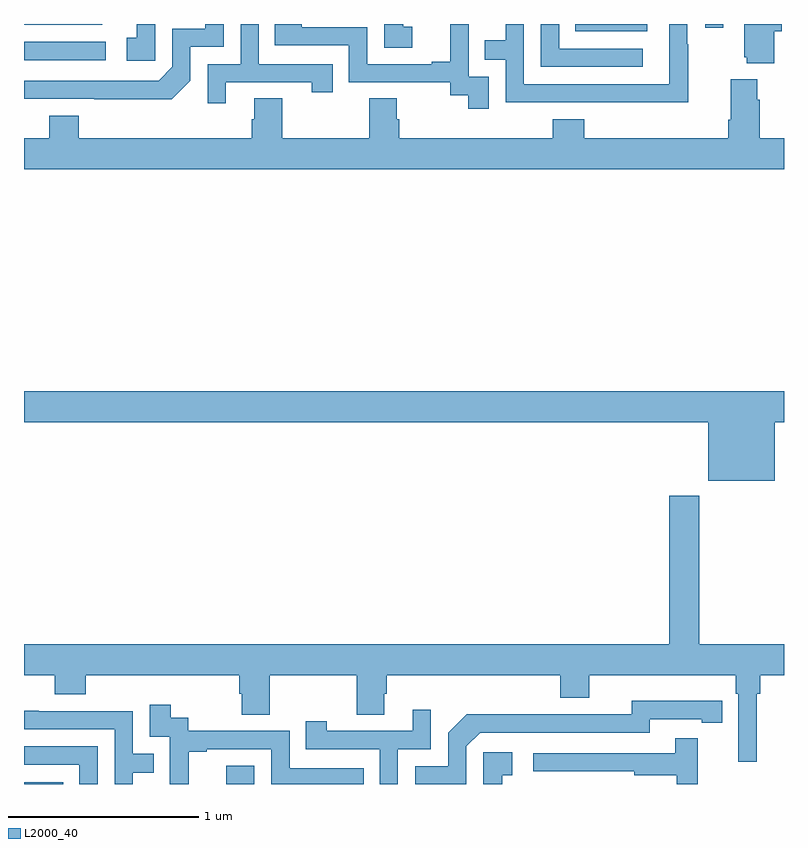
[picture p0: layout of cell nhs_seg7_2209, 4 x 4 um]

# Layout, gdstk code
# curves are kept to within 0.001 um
import gdstk
lib = gdstk.Library(unit=1e-6, precision=1e-09)
def R(c, l, rs):  # rectangles x0, y0, x1, y1
    for r in rs: c.add(gdstk.rectangle(r[:2], r[2:], *l))
def P(c, l, *ps):  # polygons
    for p in ps: c.add(gdstk.Polygon(p, *l))
L2000_40 = (2000, 40)

nhs_seg7_2209 = lib.new_cell('nhs_seg7_2209')
R(nhs_seg7_2209, L2000_40, [(255,1044,255.206,1044.01), (256.065,1044,256.212,1044.097), (255,1047.81,255.43,1047.906), (257.902,1047.962,258.28,1048), (258.585,1047.981,258.681,1048), (255,1047.995,255.412,1048)])
P(nhs_seg7_2209, L2000_40, [(257.445,1047.723),(257.34,1047.723),(257.34,1047.953),(257.342,1047.953),(257.342,1048),(257.243,1048),(257.243,1047.802),(257.147,1047.802),(257.147,1047.789),(256.806,1047.789),(256.806,1047.984),(256.461,1047.984),(256.461,1048),(256.321,1048),(256.321,1047.888),(256.71,1047.888),(256.71,1047.693),(257.244,1047.693),(257.244,1047.625),(257.337,1047.625),(257.337,1047.555),(257.445,1047.555)],
  [(255.69,1048),(255.593,1048),(255.593,1047.927),(255.54,1047.927),(255.54,1047.807),(255.69,1047.807)],
  [(258.495,1047.893),(258.492,1047.893),(258.492,1048),(258.396,1048),(258.396,1047.684),(257.631,1047.684),(257.631,1048),(257.535,1048),(257.535,1047.914),(257.425,1047.914),(257.425,1047.813),(257.535,1047.813),(257.535,1047.588),(258.031,1047.588),(258.031,1047.587),(258.495,1047.587)],
  [(257.044,1047.985),(256.995,1047.985),(256.995,1048),(256.896,1048),(256.896,1047.876),(257.044,1047.876)],
  [(256.063,1047.693),(256.514,1047.693),(256.514,1047.642),(256.625,1047.642),(256.625,1047.789),(256.236,1047.789),(256.236,1048),(256.14,1048),(256.14,1047.789),(255.966,1047.789),(255.966,1047.582),(256.063,1047.582)],
  [(258.949,1047.962),(258.988,1047.962),(258.988,1048),(258.791,1048),(258.791,1047.825),(258.803,1047.825),(258.803,1047.794),(258.949,1047.794)],
  [(258.256,1047.87),(257.817,1047.87),(257.817,1048),(257.721,1048),(257.721,1047.774),(258.256,1047.774)],
  [(255.876,1047.702),(255.876,1047.879),(256.05,1047.879),(256.05,1048),(255.953,1048),(255.953,1047.975),(255.78,1047.975),(255.78,1047.774),(255.708,1047.702),(255,1047.702),(255,1047.606),(255.778,1047.605)],
  [(259,1047.4),(258.872,1047.4),(258.872,1047.602),(258.859,1047.602),(258.859,1047.709),(258.719,1047.709),(258.719,1047.496),(258.707,1047.496),(258.707,1047.4),(257.948,1047.4),(257.948,1047.499),(257.783,1047.499),(257.783,1047.4),(256.976,1047.4),(256.976,1047.498),(256.963,1047.498),(256.963,1047.608),(256.816,1047.608),(256.816,1047.4),(256.359,1047.4),(256.359,1047.608),(256.211,1047.608),(256.211,1047.498),(256.199,1047.498),(256.199,1047.4),(255.287,1047.4),(255.287,1047.517),(255.134,1047.517),(255.134,1047.4),(255,1047.4),(255,1047.236),(259,1047.236)],
  [(258.952,1045.904),(259,1045.904),(259,1046.068),(255,1046.068),(255,1045.904),(258.602,1045.904),(258.602,1045.595),(258.952,1045.595)],
  [(258.856,1044.476),(258.875,1044.476),(258.875,1044.572),(259,1044.572),(259,1044.736),(258.555,1044.736),(258.555,1045.516),(258.395,1045.516),(258.395,1044.736),(255,1044.736),(255,1044.572),(255.161,1044.572),(255.161,1044.473),(255.326,1044.473),(255.326,1044.572),(256.133,1044.572),(256.133,1044.474),(256.145,1044.474),(256.145,1044.364),(256.293,1044.364),(256.293,1044.572),(256.75,1044.572),(256.75,1044.364),(256.897,1044.364),(256.897,1044.474),(256.91,1044.474),(256.91,1044.572),(257.822,1044.572),(257.822,1044.455),(257.974,1044.455),(257.974,1044.572),(258.746,1044.572),(258.746,1044.476),(258.759,1044.476),(258.759,1044.117),(258.856,1044.117)],
  [(257.328,1044.198),(257.4,1044.27),(258.294,1044.27),(258.294,1044.342),(258.566,1044.342),(258.566,1044.322),(258.674,1044.322),(258.674,1044.438),(258.198,1044.439),(258.198,1044.366),(257.738,1044.366),(257.738,1044.368),(257.33,1044.368),(257.232,1044.27),(257.232,1044.093),(257.058,1044.093),(257.058,1044),(257.328,1044)],
  [(255.866,1044.171),(255.961,1044.171),(255.961,1044.183),(256.302,1044.183),(256.302,1044),(256.787,1044),(256.787,1044.084),(256.398,1044.084),(256.398,1044.279),(255.864,1044.279),(255.864,1044.348),(255.772,1044.348),(255.772,1044.418),(255.663,1044.418),(255.663,1044.249),(255.768,1044.249),(255.768,1044.02),(255.767,1044.02),(255.767,1044),(255.866,1044)],
  [(256.968,1044.183),(257.142,1044.183),(257.142,1044.391),(257.045,1044.391),(257.045,1044.279),(256.594,1044.279),(256.594,1044.331),(256.483,1044.331),(256.483,1044.183),(256.872,1044.183),(256.872,1044),(256.968,1044)],
  [(255.573,1044.058),(255.683,1044.058),(255.683,1044.159),(255.573,1044.159),(255.573,1044.384),(255.077,1044.384),(255.077,1044.386),(255,1044.386),(255,1044.288),(255.477,1044.288),(255.477,1044),(255.573,1044)],
  [(258.545,1044.241),(258.427,1044.241),(258.427,1044.162),(257.679,1044.162),(257.679,1044.066),(258.211,1044.066),(258.211,1044.046),(258.435,1044.046),(258.435,1044),(258.545,1044)],
  [(255.387,1044.198),(255,1044.198),(255,1044.102),(255.291,1044.102),(255.291,1044),(255.387,1044)],
  [(257.516,1044.045),(257.569,1044.045),(257.569,1044.166),(257.418,1044.166),(257.418,1044),(257.516,1044)])

lib.write_gds('nhs_seg7_2209.gds')
